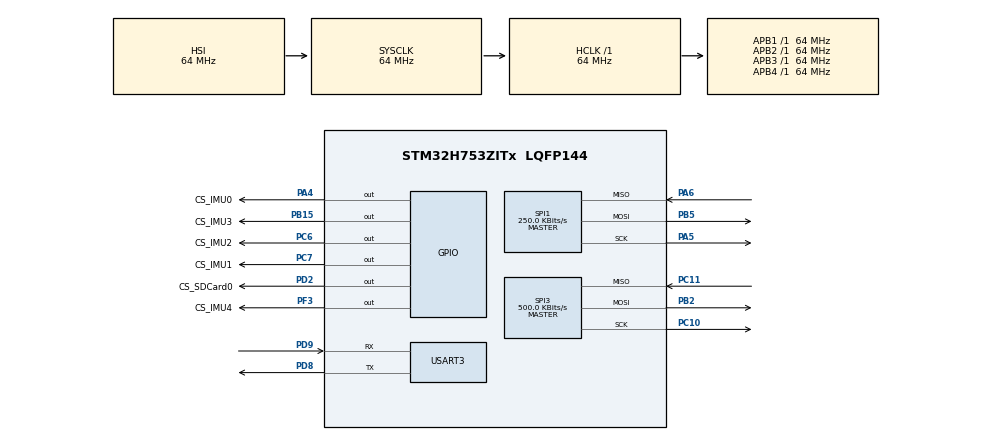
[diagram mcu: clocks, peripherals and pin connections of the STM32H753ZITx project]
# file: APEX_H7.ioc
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CORTEX_M7.CPU_DCache=Disabled
CORTEX_M7.CPU_ICache=Disabled
CORTEX_M7.MPU_Control=__NULL
CORTEX_M7.default_mode_Activation=1
FATFS._CODE_PAGE=437
Mcu.Family=STM32H7
Mcu.Name=STM32H753ZITx
Mcu.Package=LQFP144
NVIC.PriorityGroup=NVIC_PRIORITYGROUP_4
PA4.GPIO_Label=CS_IMU0
PA4.GPIO_Speed=GPIO_SPEED_FREQ_MEDIUM
PA4.PinState=GPIO_PIN_SET
PA4.Signal=GPIO_Output
PA5.Mode=Full_Duplex_Master
PA5.Signal=SPI1_SCK
PA6.Mode=Full_Duplex_Master
PA6.Signal=SPI1_MISO
PB15.GPIO_Label=CS_IMU3
PB15.GPIO_Speed=GPIO_SPEED_FREQ_MEDIUM
PB15.PinState=GPIO_PIN_SET
PB15.Signal=GPIO_Output
PB2.Mode=Full_Duplex_Master
PB2.Signal=SPI3_MOSI
PB5.Mode=Full_Duplex_Master
PB5.Signal=SPI1_MOSI
PC10.Mode=Full_Duplex_Master
PC10.Signal=SPI3_SCK
PC11.Mode=Full_Duplex_Master
PC11.Signal=SPI3_MISO
PC14-OSC32_IN\ (OSC32_IN).Signal=RCC_OSC32_IN
PC15-OSC32_OUT\ (OSC32_OUT).Signal=RCC_OSC32_OUT
PC6.GPIO_Label=CS_IMU2
PC6.GPIO_Speed=GPIO_SPEED_FREQ_MEDIUM
PC6.PinState=GPIO_PIN_SET
PC6.Signal=GPIO_Output
PC7.GPIO_Label=CS_IMU1
PC7.GPIO_Speed=GPIO_SPEED_FREQ_MEDIUM
PC7.PinState=GPIO_PIN_SET
PC7.Signal=GPIO_Output
PD2.GPIO_Label=CS_SDCard0
PD2.GPIO_Speed=GPIO_SPEED_FREQ_MEDIUM
PD2.PinState=GPIO_PIN_SET
PD2.Signal=GPIO_Output
PD8.Mode=Asynchronous
PD8.Signal=USART3_TX
PD9.Mode=Asynchronous
PD9.Signal=USART3_RX
PF3.GPIO_Label=CS_IMU4
PF3.GPIO_Speed=GPIO_SPEED_FREQ_MEDIUM
PF3.PinState=GPIO_PIN_SET
PF3.Signal=GPIO_Output
PH0-OSC_IN\ (PH0).Signal=RCC_OSC_IN
PH1-OSC_OUT\ (PH1).Signal=RCC_OSC_OUT
ProjectManager.HeapSize=0x200
ProjectManager.StackSize=0x400
ProjectManager.TargetToolchain=CMake
RCC.ADCFreq_Value=129000000
RCC.APB1Freq_Value=64000000
RCC.APB2Freq_Value=64000000
RCC.APB3Freq_Value=64000000
RCC.APB4Freq_Value=64000000
RCC.CortexFreq_Value=64000000
RCC.DIVM1=4
RCC.DIVN1=9
RCC.DIVQ1=1
RCC.HCLKFreq_Value=64000000
RCC.HSE_VALUE=8000000
RCC.PLLFRACN=3072
RCC.PWR_Regulator_Voltage_Scale=PWR_REGULATOR_VOLTAGE_SCALE2
RCC.SPI123CLockSelection=RCC_SPI123CLKSOURCE_CLKP
RCC.SYSCLKFreq_VALUE=64000000
RCC.USBFreq_Value=150000000
SPI1.BaudRatePrescaler=SPI_BAUDRATEPRESCALER_256
SPI1.CLKPhase=SPI_PHASE_1EDGE
SPI1.CLKPolarity=SPI_POLARITY_LOW
SPI1.CalculateBaudRate=250.0 KBits/s
SPI1.DataSize=SPI_DATASIZE_8BIT
SPI1.Direction=SPI_DIRECTION_2LINES
SPI1.Mode=SPI_MODE_MASTER
SPI1.NSSPMode=SPI_NSS_PULSE_DISABLE
SPI1.VirtualType=VM_MASTER
SPI3.BaudRatePrescaler=SPI_BAUDRATEPRESCALER_128
SPI3.CalculateBaudRate=500.0 KBits/s
SPI3.DataSize=SPI_DATASIZE_8BIT
SPI3.Direction=SPI_DIRECTION_2LINES
SPI3.Mode=SPI_MODE_MASTER
SPI3.NSSPMode=SPI_NSS_PULSE_DISABLE
SPI3.VirtualType=VM_MASTER
USART3.VirtualMode-Asynchronous=VM_ASYNC
VP_FATFS_VS_Generic.Mode=User_defined
VP_MEMORYMAP_VS_MEMORYMAP.Mode=CurAppReg
board=NUCLEO-H753ZI

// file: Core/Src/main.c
/* USER CODE BEGIN Header */
/* USER CODE END Header */
#include "main.h"
#include "fatfs.h"

/* USER CODE BEGIN Includes */
#include <stdio.h>
#include <stdint.h>

#include <math.h>

#include "lsm6dso.h"
#include "spi.h"
#include "stm32h7xx_hal_pwr_ex.h"
#include "sd_log.h"
#include "imu_array.h"
#include "Fusion/FusionAhrs.h"
/* USER CODE END Includes */

SPI_HandleTypeDef hspi1;
SPI_HandleTypeDef hspi3;

UART_HandleTypeDef huart3;

/* USER CODE BEGIN PV */
static uint32_t frame_counter = 0;
static uint8_t  first_dump_done = 0;
/* USER CODE END PV */

void SystemClock_Config(void);
void PeriphCommonClock_Config(void);
static void MX_GPIO_Init(void);
static void MX_USART3_UART_Init(void);
static void MX_SPI1_Init(void);
static void MX_SPI3_Init(void);

int main(void)
{

  /* MCU Configuration--------------------------------------------------------*/

  /* Reset of all peripherals, Initializes the Flash interface and the Systick. */
  HAL_Init();

  /* Configure the system clock */
  SystemClock_Config();

  /* Configure the peripherals common clocks */
  PeriphCommonClock_Config();

  /* Initialize all configured peripherals */
  MX_GPIO_Init();
  MX_USART3_UART_Init();
  MX_SPI1_Init();
  MX_SPI3_Init();
  MX_FATFS_Init();
  /* USER CODE BEGIN 2 */
  setvbuf(stdout, NULL, _IONBF, 0);   // unbuffered printf, ESSENTIAL

  HAL_Delay(50);                      // LSM6DSO needs ~35 ms after VDD up

  // CS HIGH = deselected. Should already be HIGH from GPIO init, but be paranoid.
  HAL_GPIO_WritePin(GPIOA, GPIO_PIN_4, GPIO_PIN_SET);
  HAL_Delay(1);

  /* Mount SD and open APEXxxxx.BIN. SPI3 prescaler is moved to fast (BAUD/16)
     automatically by disk_initialize() once the card finishes its slow-clock
     init handshake. */
  // if (sd_log_init() != SD_LOG_OK) {
  //     printf("sd_log_init FAILED\r\n");
  // } else {
  //     printf("sd_log_init OK\r\n");
  // }

  /* USER CODE END 2 */

  /* Infinite loop */
  /* USER CODE BEGIN WHILE */
  printf("\r\n=== APEX WHO_AM_I bringup first print ===\r\n");

  // Initialize the IMUs and print failure id's
  if (imu_init_all(&hspi1) != 0) {
      printf("IMU initialization failed at IMU %d\r\n", imu_init_all(&hspi1));
  } else {
      printf("IMU initialization successful\r\n");
  }

  // Check the WHO_AM_I register for all IMUs and print failure id's
  if (check_all_who_am_i() != 0) {
      printf("IMU WHO_AM_I check failed at IMU %d\r\n", check_all_who_am_i());
  } else {
      printf("IMU WHO_AM_I check successful\r\n");
  }

  // int16_t imu_raw_data[NUM_IMU_CHANNELS] = {0};

  // Buffer that holds all 6 channels for each of the 5 IMUs defined in lsm6dso.h
  int16_t imu_data[NUM_IMUs][NUM_IMU_CHANNELS];

  // Reference time for Madgwick filter update rate control
  uint32_t t_last = HAL_GetTick();  // milliseconds

  while (1)
    {
      static uint32_t sample_count = 0;
      static uint32_t report_tick  = 0;

      // inside your SPI read loop, after every successful IMU read:
      sample_count++;

      if ((HAL_GetTick() - report_tick) >= 1000) {  // every 1 second
          report_tick = HAL_GetTick();
          printf("RATE: %lu Hz\r\n", sample_count);
          sample_count = 0;
      }

      //// Step 1: Read IMU data, convert to physical units
      // Read all IMU data
      read_all_imus(imu_data);

      int i = 0;  // Only one IMU for now, so just read imu_data[0]
      // Convert raw data to physical units to meet library specs
      float gx_dps = (float)imu_data[i][0] * GYRO_SENSITIVITY_1000DPS / 1000.0f;
      float gy_dps = (float)imu_data[i][1] * GYRO_SENSITIVITY_1000DPS / 1000.0f;
      float gz_dps = (float)imu_data[i][2] * GYRO_SENSITIVITY_1000DPS / 1000.0f;

      float ax_g   = (float)imu_data[i][3] * ACCEL_SENSITIVITY_4G / 1000.0f;
      float ay_g   = (float)imu_data[i][4] * ACCEL_SENSITIVITY_4G / 1000.0f;
      float az_g   = (float)imu_data[i][5] * ACCEL_SENSITIVITY_4G / 1000.0f;

      float mag = sqrtf(ax_g*ax_g + ay_g*ay_g + az_g*az_g);

      //// Step 2: Feed the filter (call this at your sample rate — 1 kHz, 500 Hz, whatever you're running)
      // check before feeding the filter
      // uint32_t t_now = HAL_GetTick();
      // if ((t_now - t_last) > ???) {  // ???
      //   t_last = t_now;     // Update reference time

      //   float mag = sqrtf(ax_g*ax_g + ay_g*ay_g + az_g*az_g);
      //   if (mag > 0.1f && mag < 8.0f) {
      //       MadgwickAHRSupdateIMU(gx_rads, gy_rads, gz_rads, ax_g, ay_g, az_g);
      //   }
      // }

        // printf("IMU %d: gyro=(%7.3f, %7.3f, %7.3f) dps  "
        //       "accel=(%7.3f, %7.3f, %7.3f) g  |a|=%.3f g\r\n",
        //       imus[i].id, gx_dps, gy_dps, gz_dps, ax_g, ay_g, az_g, mag);

        // Save all IMU data to SD card
        // apex_frame_t frame = {
        //     .sync         = 0xA5,
        //     .timestamp_us = HAL_GetTick() * 1000u,
        //     .imu_index    = i,
        //     .gyro         = { imu_data[i][0], imu_data[i][1], imu_data[i][2] },
        //     .accel        = { imu_data[i][3], imu_data[i][4], imu_data[i][5] },
        // };
        // frame.crc8 = crc8_compute((const uint8_t *)&frame, APEX_FRAME_CRC_LEN);
        // sd_log_write_frame(&frame);
        // frame_counter++;

        // if ((frame_counter % 16) == 0) {
        //     sd_log_flush();
        // }

        // if ((frame_counter % 100) == 0) {
        //     if (!first_dump_done) {
        //         printf("\r\n=== HEAD DUMP at frame %lu ===\r\n",
        //                 (unsigned long)frame_counter);
        //         sd_log_dump_head(6);
        //         first_dump_done = 1;
        //     } else {
        //         printf("\r\n=== TAIL DUMP at frame %lu ===\r\n",
        //                 (unsigned long)frame_counter);
        //         sd_log_dump_tail(6);
        //     }
        // }

      HAL_Delay(10);

    /* USER CODE END WHILE */

    }
}

void SystemClock_Config(void)
{
  RCC_OscInitTypeDef RCC_OscInitStruct = {0};
  RCC_ClkInitTypeDef RCC_ClkInitStruct = {0};

  /** Supply configuration update enable
  */
  HAL_PWREx_ConfigSupply(PWR_LDO_SUPPLY);

  /** Configure the main internal regulator output voltage
  */
  __HAL_PWR_VOLTAGESCALING_CONFIG(PWR_REGULATOR_VOLTAGE_SCALE2);

  while(!__HAL_PWR_GET_FLAG(PWR_FLAG_VOSRDY)) {}

  /** Initializes the RCC Oscillators according to the specified parameters
  * in the RCC_OscInitTypeDef structure.
  */
  RCC_OscInitStruct.OscillatorType = RCC_OSCILLATORTYPE_HSI;
  RCC_OscInitStruct.HSIState = RCC_HSI_DIV1;
  RCC_OscInitStruct.HSICalibrationValue = RCC_HSICALIBRATION_DEFAULT;
  RCC_OscInitStruct.PLL.PLLState = RCC_PLL_NONE;
  if (HAL_RCC_OscConfig(&RCC_OscInitStruct) != HAL_OK)
  {
    Error_Handler();
  }

  /** Initializes the CPU, AHB and APB buses clocks
  */
  RCC_ClkInitStruct.ClockType = RCC_CLOCKTYPE_HCLK|RCC_CLOCKTYPE_SYSCLK
                              |RCC_CLOCKTYPE_PCLK1|RCC_CLOCKTYPE_PCLK2
                              |RCC_CLOCKTYPE_D3PCLK1|RCC_CLOCKTYPE_D1PCLK1;
  RCC_ClkInitStruct.SYSCLKSource = RCC_SYSCLKSOURCE_HSI;
  RCC_ClkInitStruct.SYSCLKDivider = RCC_SYSCLK_DIV1;
  RCC_ClkInitStruct.AHBCLKDivider = RCC_HCLK_DIV1;
  RCC_ClkInitStruct.APB3CLKDivider = RCC_APB3_DIV1;
  RCC_ClkInitStruct.APB1CLKDivider = RCC_APB1_DIV1;
  RCC_ClkInitStruct.APB2CLKDivider = RCC_APB2_DIV1;
  RCC_ClkInitStruct.APB4CLKDivider = RCC_APB4_DIV1;

  if (HAL_RCC_ClockConfig(&RCC_ClkInitStruct, FLASH_LATENCY_1) != HAL_OK)
  {
    Error_Handler();
  }
}

void PeriphCommonClock_Config(void)
{
  RCC_PeriphCLKInitTypeDef PeriphClkInitStruct = {0};

  /** Initializes the peripherals clock
  */
  PeriphClkInitStruct.PeriphClockSelection = RCC_PERIPHCLK_CKPER;
  PeriphClkInitStruct.CkperClockSelection = RCC_CLKPSOURCE_HSI;
  if (HAL_RCCEx_PeriphCLKConfig(&PeriphClkInitStruct) != HAL_OK)
  {
    Error_Handler();
  }
}

static void MX_SPI1_Init(void)
{

  /* SPI1 parameter configuration*/
  hspi1.Instance = SPI1;
  hspi1.Init.Mode = SPI_MODE_MASTER;
  hspi1.Init.Direction = SPI_DIRECTION_2LINES;
  hspi1.Init.DataSize = SPI_DATASIZE_8BIT;
  hspi1.Init.CLKPolarity = SPI_POLARITY_LOW;
  hspi1.Init.CLKPhase = SPI_PHASE_1EDGE;
  hspi1.Init.NSS = SPI_NSS_SOFT;
  hspi1.Init.BaudRatePrescaler = SPI_BAUDRATEPRESCALER_256;
  hspi1.Init.FirstBit = SPI_FIRSTBIT_MSB;
  hspi1.Init.TIMode = SPI_TIMODE_DISABLE;
  hspi1.Init.CRCCalculation = SPI_CRCCALCULATION_DISABLE;
  hspi1.Init.CRCPolynomial = 0x0;
  hspi1.Init.NSSPMode = SPI_NSS_PULSE_DISABLE;
  hspi1.Init.NSSPolarity = SPI_NSS_POLARITY_LOW;
  hspi1.Init.FifoThreshold = SPI_FIFO_THRESHOLD_01DATA;
  hspi1.Init.TxCRCInitializationPattern = SPI_CRC_INITIALIZATION_ALL_ZERO_PATTERN;
  hspi1.Init.RxCRCInitializationPattern = SPI_CRC_INITIALIZATION_ALL_ZERO_PATTERN;
  hspi1.Init.MasterSSIdleness = SPI_MASTER_SS_IDLENESS_00CYCLE;
  hspi1.Init.MasterInterDataIdleness = SPI_MASTER_INTERDATA_IDLENESS_00CYCLE;
  hspi1.Init.MasterReceiverAutoSusp = SPI_MASTER_RX_AUTOSUSP_DISABLE;
  hspi1.Init.MasterKeepIOState = SPI_MASTER_KEEP_IO_STATE_DISABLE;
  hspi1.Init.IOSwap = SPI_IO_SWAP_DISABLE;
  if (HAL_SPI_Init(&hspi1) != HAL_OK)
  {
    Error_Handler();
  }

}

static void MX_SPI3_Init(void)
{

  /* SPI3 parameter configuration*/
  hspi3.Instance = SPI3;
  hspi3.Init.Mode = SPI_MODE_MASTER;
  hspi3.Init.Direction = SPI_DIRECTION_2LINES;
  hspi3.Init.DataSize = SPI_DATASIZE_8BIT;
  hspi3.Init.CLKPolarity = SPI_POLARITY_LOW;
  hspi3.Init.CLKPhase = SPI_PHASE_1EDGE;
  hspi3.Init.NSS = SPI_NSS_SOFT;
  hspi3.Init.BaudRatePrescaler = SPI_BAUDRATEPRESCALER_128;
  hspi3.Init.FirstBit = SPI_FIRSTBIT_MSB;
  hspi3.Init.TIMode = SPI_TIMODE_DISABLE;
  hspi3.Init.CRCCalculation = SPI_CRCCALCULATION_DISABLE;
  hspi3.Init.CRCPolynomial = 0x0;
  hspi3.Init.NSSPMode = SPI_NSS_PULSE_DISABLE;
  hspi3.Init.NSSPolarity = SPI_NSS_POLARITY_LOW;
  hspi3.Init.FifoThreshold = SPI_FIFO_THRESHOLD_01DATA;
  hspi3.Init.TxCRCInitializationPattern = SPI_CRC_INITIALIZATION_ALL_ZERO_PATTERN;
  hspi3.Init.RxCRCInitializationPattern = SPI_CRC_INITIALIZATION_ALL_ZERO_PATTERN;
  hspi3.Init.MasterSSIdleness = SPI_MASTER_SS_IDLENESS_00CYCLE;
  hspi3.Init.MasterInterDataIdleness = SPI_MASTER_INTERDATA_IDLENESS_00CYCLE;
  hspi3.Init.MasterReceiverAutoSusp = SPI_MASTER_RX_AUTOSUSP_DISABLE;
  hspi3.Init.MasterKeepIOState = SPI_MASTER_KEEP_IO_STATE_DISABLE;
  hspi3.Init.IOSwap = SPI_IO_SWAP_DISABLE;
  if (HAL_SPI_Init(&hspi3) != HAL_OK)
  {
    Error_Handler();
  }

}

static void MX_USART3_UART_Init(void)
{

  huart3.Instance = USART3;
  huart3.Init.BaudRate = 115200;
  huart3.Init.WordLength = UART_WORDLENGTH_8B;
  huart3.Init.StopBits = UART_STOPBITS_1;
  huart3.Init.Parity = UART_PARITY_NONE;
  huart3.Init.Mode = UART_MODE_TX_RX;
  huart3.Init.HwFlowCtl = UART_HWCONTROL_NONE;
  huart3.Init.OverSampling = UART_OVERSAMPLING_16;
  huart3.Init.OneBitSampling = UART_ONE_BIT_SAMPLE_DISABLE;
  huart3.Init.ClockPrescaler = UART_PRESCALER_DIV1;
  huart3.AdvancedInit.AdvFeatureInit = UART_ADVFEATURE_NO_INIT;
  if (HAL_UART_Init(&huart3) != HAL_OK)
  {
    Error_Handler();
  }
  if (HAL_UARTEx_SetTxFifoThreshold(&huart3, UART_TXFIFO_THRESHOLD_1_8) != HAL_OK)
  {
    Error_Handler();
  }
  if (HAL_UARTEx_SetRxFifoThreshold(&huart3, UART_RXFIFO_THRESHOLD_1_8) != HAL_OK)
  {
    Error_Handler();
  }
  if (HAL_UARTEx_DisableFifoMode(&huart3) != HAL_OK)
  {
    Error_Handler();
  }

}

static void MX_GPIO_Init(void)
{
  GPIO_InitTypeDef GPIO_InitStruct = {0};

  /* GPIO Ports Clock Enable */
  __HAL_RCC_GPIOC_CLK_ENABLE();
  __HAL_RCC_GPIOF_CLK_ENABLE();
  __HAL_RCC_GPIOH_CLK_ENABLE();
  __HAL_RCC_GPIOA_CLK_ENABLE();
  __HAL_RCC_GPIOB_CLK_ENABLE();
  __HAL_RCC_GPIOD_CLK_ENABLE();

  /*Configure GPIO pin Output Level */
  HAL_GPIO_WritePin(CS_IMU4_GPIO_Port, CS_IMU4_Pin, GPIO_PIN_SET);

  /*Configure GPIO pin Output Level */
  HAL_GPIO_WritePin(CS_IMU0_GPIO_Port, CS_IMU0_Pin, GPIO_PIN_SET);

  /*Configure GPIO pin Output Level */
  HAL_GPIO_WritePin(CS_IMU3_GPIO_Port, CS_IMU3_Pin, GPIO_PIN_SET);

  /*Configure GPIO pin Output Level */
  HAL_GPIO_WritePin(GPIOC, CS_IMU2_Pin|CS_IMU1_Pin, GPIO_PIN_SET);

  /*Configure GPIO pin Output Level */
  HAL_GPIO_WritePin(CS_SDCard0_GPIO_Port, CS_SDCard0_Pin, GPIO_PIN_SET);

  /*Configure GPIO pin : CS_IMU4_Pin */
  GPIO_InitStruct.Pin = CS_IMU4_Pin;
  GPIO_InitStruct.Mode = GPIO_MODE_OUTPUT_PP;
  GPIO_InitStruct.Pull = GPIO_NOPULL;
  GPIO_InitStruct.Speed = GPIO_SPEED_FREQ_MEDIUM;
  HAL_GPIO_Init(CS_IMU4_GPIO_Port, &GPIO_InitStruct);

  /*Configure GPIO pin : CS_IMU0_Pin */
  GPIO_InitStruct.Pin = CS_IMU0_Pin;
  GPIO_InitStruct.Mode = GPIO_MODE_OUTPUT_PP;
  GPIO_InitStruct.Pull = GPIO_NOPULL;
  GPIO_InitStruct.Speed = GPIO_SPEED_FREQ_MEDIUM;
  HAL_GPIO_Init(CS_IMU0_GPIO_Port, &GPIO_InitStruct);

  /*Configure GPIO pin : CS_IMU3_Pin */
  GPIO_InitStruct.Pin = CS_IMU3_Pin;
  GPIO_InitStruct.Mode = GPIO_MODE_OUTPUT_PP;
  GPIO_InitStruct.Pull = GPIO_NOPULL;
  GPIO_InitStruct.Speed = GPIO_SPEED_FREQ_MEDIUM;
  HAL_GPIO_Init(CS_IMU3_GPIO_Port, &GPIO_InitStruct);

  /*Configure GPIO pins : CS_IMU2_Pin CS_IMU1_Pin */
  GPIO_InitStruct.Pin = CS_IMU2_Pin|CS_IMU1_Pin;
  GPIO_InitStruct.Mode = GPIO_MODE_OUTPUT_PP;
  GPIO_InitStruct.Pull = GPIO_NOPULL;
  GPIO_InitStruct.Speed = GPIO_SPEED_FREQ_MEDIUM;
  HAL_GPIO_Init(GPIOC, &GPIO_InitStruct);

  /*Configure GPIO pin : CS_SDCard0_Pin */
  GPIO_InitStruct.Pin = CS_SDCard0_Pin;
  GPIO_InitStruct.Mode = GPIO_MODE_OUTPUT_PP;
  GPIO_InitStruct.Pull = GPIO_NOPULL;
  GPIO_InitStruct.Speed = GPIO_SPEED_FREQ_MEDIUM;
  HAL_GPIO_Init(CS_SDCard0_GPIO_Port, &GPIO_InitStruct);

}

/* USER CODE BEGIN 4 */
int __io_putchar(int ch)
{
    uint8_t c = (uint8_t)ch;
    HAL_UART_Transmit(&huart3, &c, 1, HAL_MAX_DELAY);
    return ch;
}
/* USER CODE END 4 */

void Error_Handler(void)
{
}
